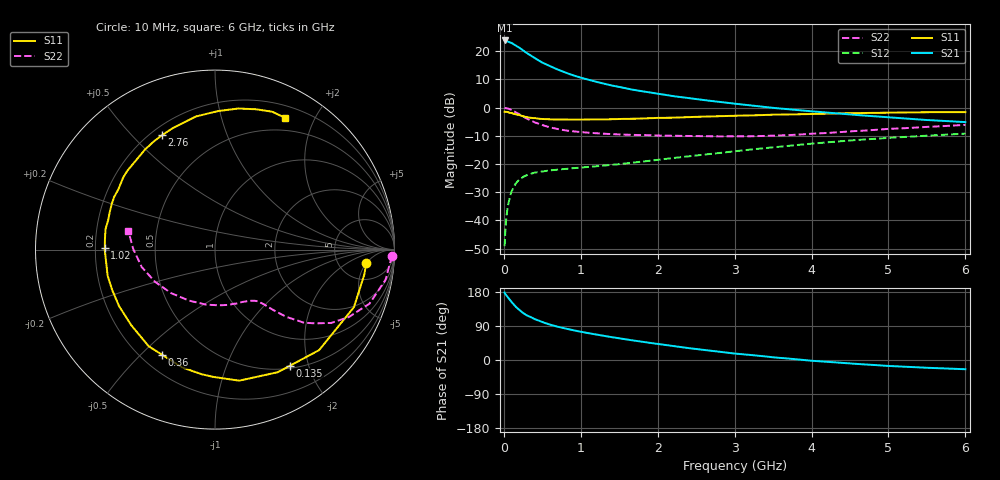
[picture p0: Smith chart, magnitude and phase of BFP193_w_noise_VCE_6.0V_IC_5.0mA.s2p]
! Infineon Technologies  Discrete & RF Semiconductors
! BFP193
! VCE = 6.0 V,  IC =  5.0 mA
! Common Emitter S-Parameters:  Jan 2016
# GHz  S  MA  R  50
!  f  S11  S21  S12  S22
! GHz  MAG  ANG  MAG  ANG  MAG  ANG  MAG  ANG
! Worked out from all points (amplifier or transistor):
!   210 points, 10 MHz to 6 GHz, reference 50 ohm
!   highest |S21| = 23.8 dB at 10 MHz (marker M1)
!   |S21| within 3 dB of that: start of sweep to 222.9 MHz
!   unconditionally stable (mu >= 1): 1.286 GHz to 3.554 GHz
!   at 185 MHz: K = 0.20, MSG = 23.7 dB, |S12| = -26.0 dB
!   at 1.52 GHz: K = 1.07, MAG = 12.0 dB, |S12| = -20.0 dB
!   at 6 GHz: K = 0.90, MSG = 2.0 dB, |S12| = -9.2 dB
!   lowest NFmin = 1.20 dB at 450 MHz
!   S11 on the Smith chart (normalised r, x): 10 MHz: 10, -5; 135 MHz: 0.54, -1.71; 360 MHz: 0.28, -0.58; 1.02 GHz: 0.24, +0.01; 2.76 GHz: 0.24, +0.61; 6 GHz: 0.34, +1.61
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0.01  0.8461 -4.9  15.51 178.0  0.0035 86.5  0.9863 -2.1
0.02  0.8436 -9.4  15.22 173.8  0.0068 85.1  0.9797 -4.0
0.05  0.8379 -22.5  14.88 165.9  0.0171 78.7  0.9648 -10.1
0.1  0.8063 -44.0  14.07 153.3  0.0324 68.2  0.9117 -19.3
0.135  0.77 -57.1  13.08 145.1  0.0405 61.5  0.8568 -24.3
0.15  0.7674 -62.9  12.75 141.2  0.0441 59.4  0.8355 -26.7
0.2  0.7427 -79.5  11.57 132.2  0.0532 52.3  0.7652 -32.3
0.26  0.6982 -96.2  10.11 122.7  0.0601 46.3  0.6816 -37.0
0.3  0.6814 -105.6  9.251 117.6  0.0636 43.5  0.6369 -39.6
0.36  0.6558 -116.7  8.199 112.3  0.0676 40.0  0.5838 -41.6
0.4  0.6532 -124.4  7.546 108.0  0.0704 37.9  0.5488 -43.2
0.5  0.6287 -137.9  6.285 99.9  0.074 34.9  0.4886 -45.3
0.6  0.6203 -149.5  5.415 93.3  0.0771 33.5  0.4458 -46.8
0.8  0.6156 -166.3  4.178 83.0  0.082 32.5  0.3941 -49.0
1.02  0.6141 179.2  3.337 73.8  0.0869 33.6  0.3666 -51.3
1.4  0.6226 160.5  2.469 60.4  0.0963 36.5  0.3399 -57.7
2.02  0.6573 137.2  1.74 41.9  0.1196 40.6  0.3195 -70.9
2.76  0.7019 114.9  1.285 22.9  0.1554 41.5  0.309 -92.1
3.1  0.7213 106.8  1.136 15.3  0.1747 40.4  0.31 -103.4
4.1  0.7758 87.0  0.838 -3.3  0.236 33.5  0.3491 -138.9
5.1  0.8172 72.4  0.658 -16.6  0.2961 23.1  0.425 -169.6
6  0.832 62.0  0.554 -24.4  0.3458 12.5  0.4951 167.6
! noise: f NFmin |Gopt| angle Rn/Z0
0.45  1.2  0.26  102  0.14
0.9  1.25  0.38  145  0.12
1.8  2.05  0.56  -161  0.12
